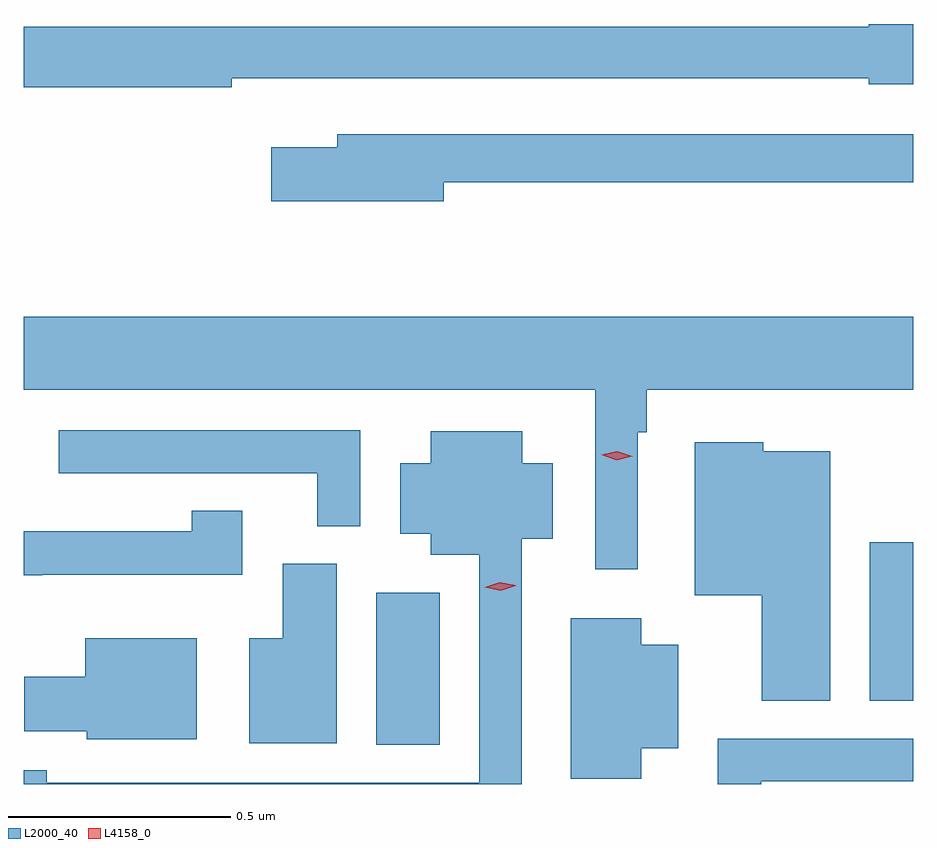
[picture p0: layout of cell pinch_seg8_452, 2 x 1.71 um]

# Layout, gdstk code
import gdstk
lib = gdstk.Library(unit=1e-6, precision=1e-09)
def R(c, l, rs):  # rectangles x0, y0, x1, y1
    for r in rs: c.add(gdstk.rectangle(r[:2], r[2:], *l))
def P(c, l, *ps):  # polygons
    for p in ps: c.add(gdstk.Polygon(p, *l))
L2000_40 = (2000, 40)
L4158_0 = (4158, 0)

pinch_seg8_452 = lib.new_cell('pinch_seg8_452')
R(pinch_seg8_452, L2000_40, [(334.958,1123.693,335.101,1124.035), (336.068,1123.792,336.166,1124.149)])
P(pinch_seg8_452, L2000_40, [(334.634,1125.192),(336.066,1125.192),(336.066,1125.179),(336.166,1125.179),(336.166,1125.314),(336.066,1125.314),(336.066,1125.308),(334.166,1125.308),(334.166,1125.172),(334.634,1125.172)],
  [(335.11,1124.958),(336.166,1124.958),(336.166,1125.066),(334.871,1125.066),(334.871,1125.037),(334.722,1125.037),(334.722,1124.915),(335.11,1124.915)],
  [(335.547,1124.396),(335.567,1124.396),(335.567,1124.492),(336.166,1124.492),(336.166,1124.656),(334.166,1124.656),(334.166,1124.492),(335.451,1124.492),(335.451,1124.088),(335.547,1124.088)],
  [(334.923,1124.4),(334.245,1124.4),(334.245,1124.304),(334.826,1124.304),(334.826,1124.185),(334.923,1124.185)],
  [(335.286,1124.156),(335.356,1124.156),(335.356,1124.326),(335.287,1124.326),(335.287,1124.398),(335.081,1124.398),(335.081,1124.326),(335.012,1124.326),(335.012,1124.168),(335.081,1124.168),(335.081,1124.12),(335.19,1124.12),(335.19,1123.608),(334.218,1123.608),(334.218,1123.636),(334.166,1123.636),(334.166,1123.605),(335.286,1123.605)],
  [(335.98,1124.353),(335.829,1124.353),(335.829,1124.374),(335.675,1124.374),(335.675,1124.03),(335.825,1124.03),(335.825,1123.792),(335.98,1123.792)],
  [(334.208,1124.075),(334.657,1124.075),(334.657,1124.219),(334.544,1124.219),(334.544,1124.173),(334.166,1124.173),(334.166,1124.074),(334.208,1124.074)],
  [(334.87,1124.1),(334.748,1124.1),(334.748,1123.933),(334.673,1123.933),(334.673,1123.697),(334.87,1123.697)],
  [(335.554,1123.685),(335.638,1123.685),(335.638,1123.918),(335.554,1123.918),(335.554,1123.978),(335.396,1123.978),(335.396,1123.617),(335.554,1123.617)],
  [(334.555,1123.933),(334.304,1123.933),(334.304,1123.846),(334.167,1123.846),(334.167,1123.724),(334.308,1123.724),(334.308,1123.706),(334.555,1123.706)],
  [(335.824,1123.611),(336.166,1123.611),(336.166,1123.707),(335.726,1123.707),(335.726,1123.605),(335.824,1123.605)])
P(pinch_seg8_452, L4158_0, [(335.499,1124.333),(335.464,1124.345),(335.464,1124.345),(335.464,1124.345),(335.5,1124.353),(335.534,1124.342),(335.535,1124.342),(335.534,1124.342)],
  [(335.238,1124.039),(335.202,1124.047),(335.202,1124.047),(335.202,1124.047),(335.236,1124.059),(335.272,1124.052),(335.272,1124.052),(335.272,1124.051)])

lib.write_gds('pinch_seg8_452.gds')
